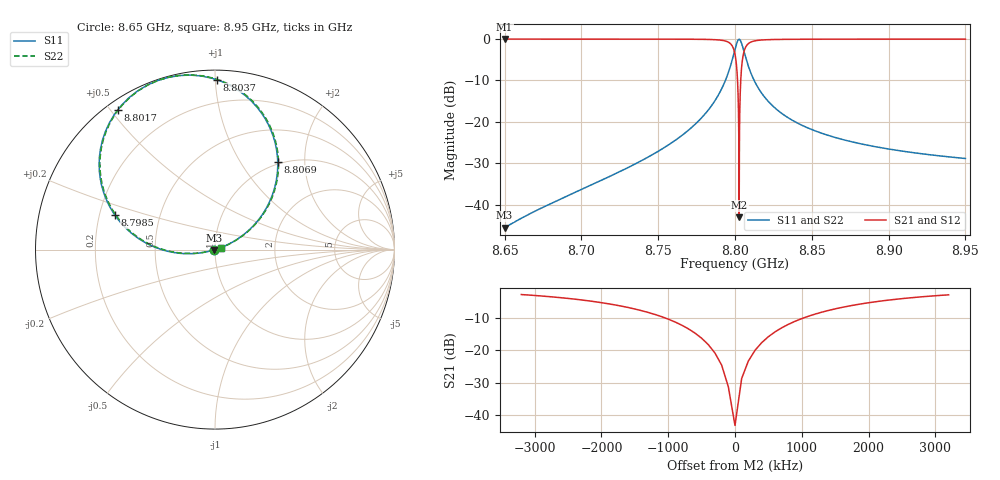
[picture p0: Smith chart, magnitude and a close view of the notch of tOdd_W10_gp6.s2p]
! Sonnet Data File
! From: emgraph Version : 16.52
! From Project: transmon_trial2
! Data is De-embedded
! Data File Written: 10/19/2017 21:40:57
!< HDATE 10/19/2017 20:11:27
!< MDATE 10/19/2017 20:13:29
!< PARAMS
!< Lj = 15.24
!< Gap = 6.0
!< Width = 10.0
!< Airgap = 6.0
!< Pwidth = 2000.0
!< END PARAMS
# GHZ S MA R 34.70000
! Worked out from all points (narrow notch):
!   3001 points, 8.65 GHz to 8.95 GHz, reference 34.7 ohm
!   highest |S21| = 0.00 dB at 8.65 GHz (marker M1); lowest = -43.1 dB at 8.8027 GHz (marker M2)
!   notch at M2: 43.1 dB deep, 534 kHz wide at half that depth
!   lowest |S11| = -45.6 dB at 8.65 GHz (marker M3), VSWR 1.01, Z = 34.4 - j0.114 ohm
!   |S11| at or under -10 dB: start of sweep to 8.7937 GHz; 8.8125 GHz to end of sweep
!   |S22| runs from -45.6 to 0.0 dB; largest |S21 - S12| = 0
!   S11 on the Smith chart (normalised r, x): 8.65 GHz: 0.99, -0.00; 8.7985 GHz: 0.27, +0.16; 8.8017 GHz: 0.03, +0.52; 8.8037 GHz: 0.05, +1.01; 8.8069 GHz: 0.96, +1.48; 8.95 GHz: 1.07, +0.02
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8.65  0.005261 -161.7  1 -72.0  1 -72.0  0.005261 -162.2
!< P1 F=8.65 Eeff=(5.13426974 -5.6456e-5) Z0=(34.6544633 -9.2759e-5) R=0.0 C=0.0
!< P2 F=8.65 Eeff=(5.13426974 -5.6456e-5) Z0=(34.6544633 -9.2759e-5) R=0.0 C=0.0
8.7  0.01524 -162.7  0.9999 -73.0  0.9999 -73.0  0.01524 -163.2
8.75  0.04406 -164.8  0.999 -75.0  0.999 -75.0  0.04406 -165.3
8.7687  0.07646 -166.8  0.997 -77.0  0.997 -77.0  0.07646 -167.3
8.7823  0.1366 -170.4  0.9905 -80.6  0.9905 -80.6  0.1366 -170.9
8.794  0.3251 178.3  0.945 -91.8  0.945 -91.8  0.3251 177.8
8.7966  0.4449 170.8  0.8944 -99.3  0.8944 -99.3  0.4449 170.3
8.7985  0.5885 161.1  0.8062 -109.0  0.8062 -109.0  0.5885 160.6
8.8  0.7513 148.3  0.6554 -121.6  0.6554 -121.6  0.7513 147.8
8.8008  0.8504 138.6  0.5188 -131.2  0.5188 -131.2  0.8504 138.1
8.8013  0.9089 131.3  0.4065 -138.3  0.4065 -138.3  0.9089 130.8
8.8017  0.9486 124.9  0.3011 -144.5  0.3011 -144.5  0.9486 124.3
8.8027  0.9948 107.1  0.007022 -30.4  0.007022 -30.4  0.9948 106.5
8.8037  0.9469 89.5  0.3068 -1.7  0.3068 -1.7  0.9469 88.9
8.8049  0.8154 72.3  0.5731 -18.3  0.5731 -18.3  0.8154 71.8
8.8069  0.6014 54.5  0.7967 -36.0  0.7967 -36.0  0.6014 53.9
8.8105  0.3823 39.9  0.9233 -50.5  0.9233 -50.5  0.3823 39.3
8.8165  0.234 30.8  0.972 -59.5  0.972 -59.5  0.234 30.3
8.83  0.1281 24.5  0.9917 -65.8  0.9917 -65.8  0.1281 24.0
8.85  0.08063 21.6  0.9967 -68.7  0.9967 -68.7  0.08063 21.0
8.9  0.04694 19.2  0.9989 -71.0  0.9989 -71.0  0.04694 18.7
8.95  0.03605 18.2  0.9993 -72.1  0.9993 -72.1  0.03605 17.6
